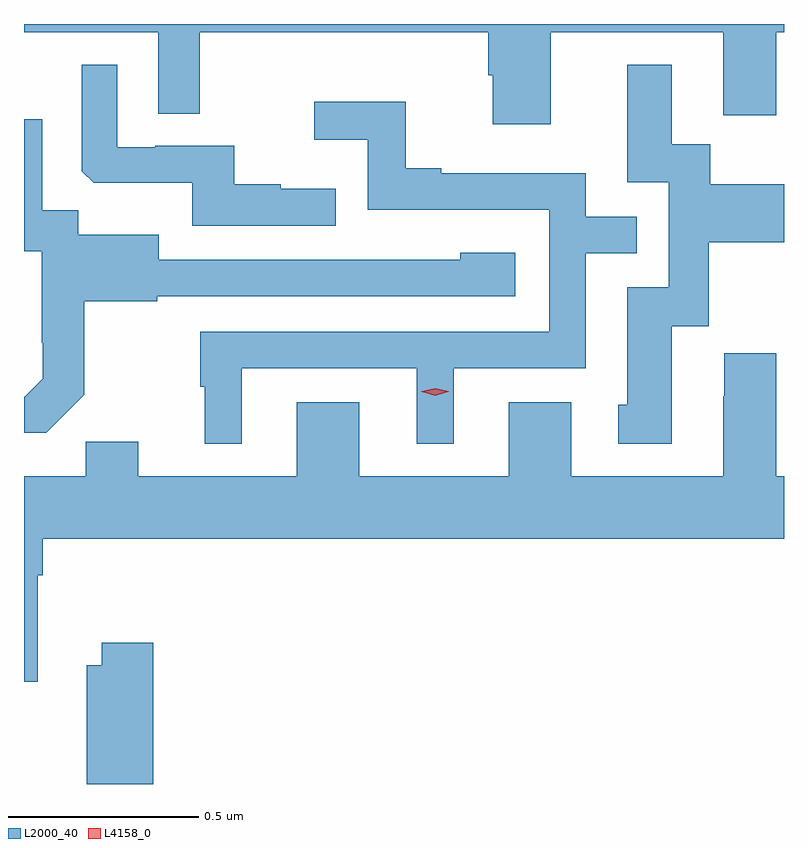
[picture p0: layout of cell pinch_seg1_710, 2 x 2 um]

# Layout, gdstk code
import gdstk
lib = gdstk.Library(unit=1e-6, precision=1e-09)
def P(c, l, *ps):  # polygons
    for p in ps: c.add(gdstk.Polygon(p, *l))
L2000_40 = (2000, 40)
L4158_0 = (4158, 0)

pinch_seg1_710 = lib.new_cell('pinch_seg1_710')
P(pinch_seg1_710, L2000_40, [(751.069,569.048),(751.523,569.048),(751.523,568.83),(751.663,568.83),(751.663,569.048),(751.683,569.048),(751.683,569.07),(749.683,569.07),(749.683,569.048),(750.036,569.048),(750.036,568.834),(750.145,568.834),(750.145,569.048),(750.905,569.048),(750.905,568.935),(750.917,568.935),(750.917,568.806),(751.069,568.806)],
  [(751.387,568.274),(751.485,568.274),(751.485,568.496),(751.683,568.496),(751.683,568.648),(751.489,568.648),(751.489,568.754),(751.387,568.754),(751.387,568.963),(751.271,568.963),(751.271,568.653),(751.38,568.653),(751.38,568.377),(751.271,568.377),(751.271,568.068),(751.247,568.068),(751.247,567.966),(751.387,567.966)],
  [(750.503,568.636),(750.359,568.636),(750.359,568.648),(750.236,568.648),(750.236,568.749),(750.028,568.749),(750.028,568.746),(749.928,568.746),(749.928,568.963),(749.835,568.963),(749.835,568.683),(749.867,568.652),(750.126,568.652),(750.126,568.539),(750.503,568.539)],
  [(750.256,568.164),(750.716,568.164),(750.716,567.965),(750.814,567.965),(750.814,568.164),(751.161,568.164),(751.161,568.467),(751.295,568.467),(751.295,568.563),(751.161,568.563),(751.161,568.677),(750.781,568.677),(750.781,568.69),(750.687,568.69),(750.687,568.865),(750.447,568.865),(750.447,568.766),(750.588,568.766),(750.588,568.581),(751.065,568.581),(751.065,568.26),(750.147,568.26),(750.147,568.116),(750.158,568.116),(750.158,567.965),(750.256,567.965)],
  [(749.841,568.095),(749.841,568.341),(750.033,568.341),(750.033,568.353),(750.976,568.353),(750.976,568.468),(750.831,568.468),(750.831,568.45),(750.595,568.45),(750.595,568.449),(750.037,568.449),(750.037,568.516),(749.826,568.516),(749.826,568.58),(749.731,568.58),(749.731,568.819),(749.683,568.819),(749.683,568.472),(749.73,568.472),(749.73,568.231),(749.732,568.231),(749.732,568.136),(749.685,568.089),(749.683,568.089),(749.683,567.995),(749.741,567.995)],
  [(749.719,567.62),(749.732,567.62),(749.732,567.716),(751.683,567.716),(751.683,567.88),(751.663,567.88),(751.663,568.204),(751.526,568.204),(751.526,568.091),(751.523,568.091),(751.523,567.88),(751.123,567.88),(751.123,568.075),(750.959,568.075),(750.959,567.88),(750.565,567.88),(750.565,568.075),(750.401,568.075),(750.401,567.88),(749.983,567.88),(749.983,567.971),(749.845,567.971),(749.845,567.88),(749.683,567.88),(749.683,567.339),(749.719,567.339)],
  [(750.023,567.442),(749.888,567.442),(749.888,567.382),(749.848,567.382),(749.848,567.07),(750.023,567.07)])
P(pinch_seg1_710, L4158_0, [(750.765,568.092),(750.73,568.102),(750.729,568.102),(750.73,568.103),(750.765,568.112),(750.8,568.103),(750.801,568.102),(750.8,568.102)])

lib.write_gds('pinch_seg1_710.gds')
